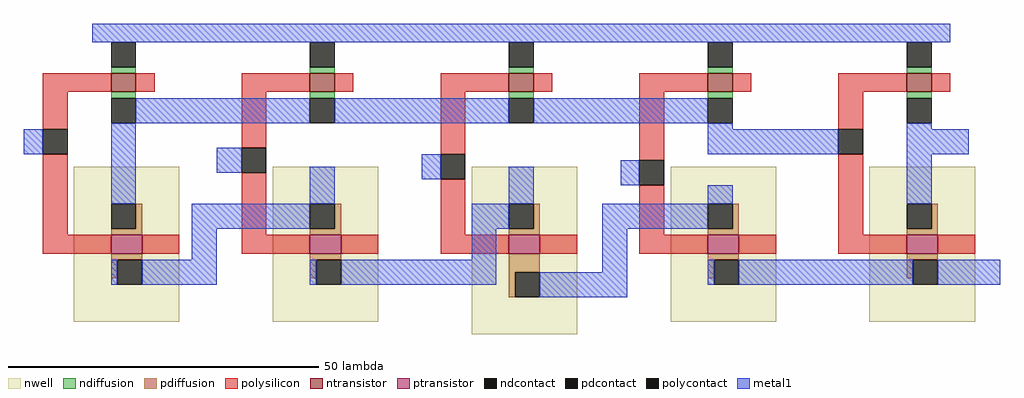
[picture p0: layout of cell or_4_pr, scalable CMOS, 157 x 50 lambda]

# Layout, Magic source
magic
tech scmos
<< nwell >>
rect -36 -23 -19 2
rect -4 -23 13 2
rect 28 -25 45 2
rect 60 -23 77 2
rect 92 -23 109 2
<< ntransistor >>
rect -30 14 -26 17
rect 2 14 6 17
rect 34 14 38 17
rect 66 14 70 17
rect 98 14 102 17
<< ptransistor >>
rect -30 -12 -25 -9
rect 2 -12 7 -9
rect 34 -12 39 -9
rect 66 -12 71 -9
rect 98 -12 103 -9
<< ndiffusion >>
rect -30 17 -26 18
rect 2 17 6 18
rect 34 17 38 18
rect 66 17 70 18
rect 98 17 102 18
rect -30 13 -26 14
rect 2 13 6 14
rect 34 13 38 14
rect 66 13 70 14
rect 98 13 102 14
<< pdiffusion >>
rect -26 -8 -25 -4
rect -30 -9 -25 -8
rect 6 -8 7 -4
rect 2 -9 7 -8
rect 38 -8 39 -4
rect 34 -9 39 -8
rect 70 -8 71 -4
rect 66 -9 71 -8
rect 102 -8 103 -4
rect 98 -9 103 -8
rect -30 -13 -25 -12
rect -30 -16 -29 -13
rect 2 -13 7 -12
rect 2 -16 3 -13
rect 34 -15 39 -12
rect 34 -19 35 -15
rect 66 -13 71 -12
rect 66 -16 67 -13
rect 98 -13 103 -12
rect 98 -16 99 -13
<< ndcontact >>
rect -30 18 -26 22
rect 2 18 6 22
rect 34 18 38 22
rect 66 18 70 22
rect 98 18 102 22
rect -30 9 -26 13
rect 2 9 6 13
rect 34 9 38 13
rect 66 9 70 13
rect 98 9 102 13
<< pdcontact >>
rect -30 -8 -26 -4
rect 2 -8 6 -4
rect 34 -8 38 -4
rect 66 -8 70 -4
rect 98 -8 102 -4
rect -29 -17 -25 -13
rect 3 -17 7 -13
rect 35 -19 39 -15
rect 67 -17 71 -13
rect 99 -17 103 -13
<< polysilicon >>
rect -41 14 -30 17
rect -26 14 -23 17
rect -9 14 2 17
rect 6 14 9 17
rect 23 14 34 17
rect 38 14 41 17
rect 55 14 66 17
rect 70 14 73 17
rect 87 14 98 17
rect 102 14 105 17
rect -41 8 -37 14
rect -41 -9 -37 4
rect -9 5 -5 14
rect -9 -9 -5 1
rect 23 4 27 14
rect 23 -9 27 0
rect 55 3 59 14
rect 55 -9 59 -1
rect 87 8 91 14
rect 87 -9 91 4
rect -41 -12 -30 -9
rect -25 -12 -19 -9
rect -9 -12 2 -9
rect 7 -12 13 -9
rect 23 -12 34 -9
rect 39 -12 45 -9
rect 55 -12 66 -9
rect 71 -12 77 -9
rect 87 -12 98 -9
rect 103 -12 109 -9
<< polycontact >>
rect -41 4 -37 8
rect -9 1 -5 5
rect 23 0 27 4
rect 55 -1 59 3
rect 87 4 91 8
<< metal1 >>
rect -33 22 105 25
rect -26 9 2 13
rect 6 9 34 13
rect 38 9 66 13
rect -44 4 -41 8
rect -30 -4 -26 9
rect 66 8 70 9
rect 98 8 102 9
rect -13 1 -9 5
rect 66 4 87 8
rect 98 4 108 8
rect 2 -4 6 2
rect 20 0 23 4
rect 34 -4 38 2
rect 52 -1 55 3
rect 66 -4 70 -1
rect -17 -8 2 -4
rect 28 -8 34 -4
rect 49 -8 66 -4
rect 98 -4 102 4
rect -17 -13 -13 -8
rect 28 -13 32 -8
rect -30 -17 -29 -13
rect -25 -17 -13 -13
rect 2 -17 3 -13
rect 7 -17 32 -13
rect 49 -15 53 -8
rect 39 -19 53 -15
rect 66 -17 67 -13
rect 71 -17 99 -13
rect 103 -17 113 -13
<< end >>
